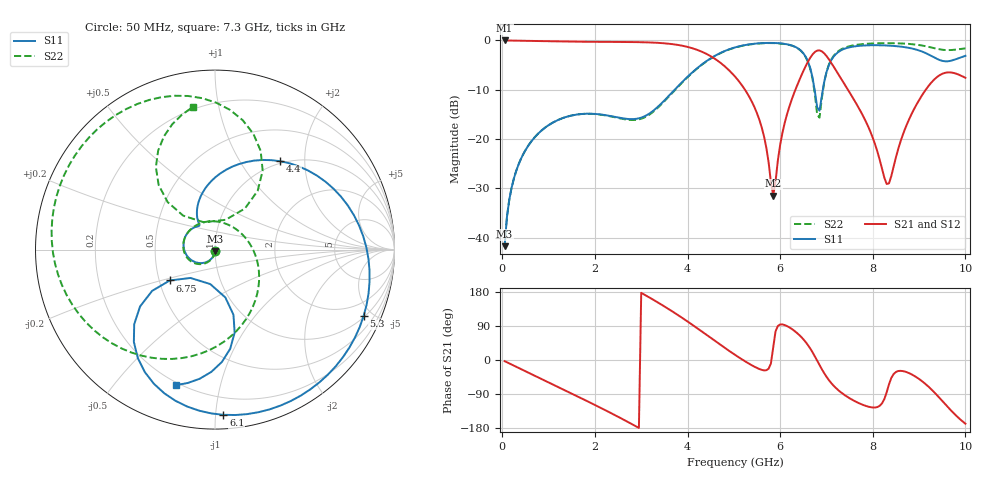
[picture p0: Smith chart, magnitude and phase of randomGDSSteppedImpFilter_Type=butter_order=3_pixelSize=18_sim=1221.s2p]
! freq	dB(S11)	phase(S11)	dB(S12)	phase(S12)
!  dB(S21)	phase(S21)	dB(S22)	phase(S22)
!S-par simulation data
#  GHz  S  DB  R 50
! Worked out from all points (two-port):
!   200 points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, 50 MHz to 10 GHz, reference 50 ohm
!   highest |S21| = -0.01 dB at 50 MHz (marker M1); lowest = -31.5 dB at 5.85 GHz (marker M2)
!   |S21| within 3 dB of the highest: start of sweep to 4.463 GHz; 6.687 GHz to 6.987 GHz (299.4 MHz wide, 4.38 % of centre)
!   lowest |S11| = -41.7 dB at 50 MHz (marker M3), VSWR 1.02, Z = 50 - j0.818 ohm
!   |S11| at or under -10 dB: start of sweep to 3.723 GHz; 6.744 GHz to 6.923 GHz (178.4 MHz wide, 2.61 % of centre)
!   |S22| runs from -41.7 to -0.5 dB; largest |S21 - S12| = 0
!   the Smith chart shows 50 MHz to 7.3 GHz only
!   S11 on the Smith chart (normalised r, x): 50 MHz: 1.00, -0.02; 4.4 GHz: 0.97, +1.52; 5.3 GHz: 1.05, -4.43; 6.1 GHz: 0.09, -1.05; 6.75 GHz: 0.57, -0.22; 7.3 GHz: 0.19, -0.73
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0.05  -41.74 -91.3  -0.01 -3.0  -0.01 -3.0  -41.73 -91.0
0.2  -29.92 -102.1  -0.02 -11.9  -0.02 -11.9  -29.91 -101.0
0.5  -22.27 -121.5  -0.07 -29.7  -0.07 -29.7  -22.26 -118.7
1.75  -14.90 163.8  -0.27 -103.6  -0.27 -103.6  -14.91 167.4
2.65  -15.87 125.9  -0.31 -159.4  -0.31 -159.4  -16.01 93.6
3.4  -13.11 117.1  -0.51 148.9  -0.51 148.9  -13.28 -2.6
4.4  -4.26 53.5  -2.69 67.3  -2.69 67.3  -4.31 -102.5
5.05  -1.35 -3.4  -7.60 11.6  -7.60 11.6  -1.39 -158.8
5.3  -0.85 -24.2  -10.90 -7.7  -10.90 -7.7  -0.89 -179.0
5.85  -0.51 -67.3  -31.49 32.8  -31.49 32.8  -0.54 138.3
6.1  -0.71 -87.1  -16.67 92.1  -16.67 92.1  -0.73 118.1
6.45  -2.09 -119.8  -7.27 61.4  -7.27 61.4  -2.12 83.9
6.7  -7.55 -146.7  -2.83 20.2  -2.83 20.2  -7.86 54.0
6.75  -10.32 -145.7  -2.33 9.5  -2.33 9.5  -10.96 53.9
6.85  -14.25 -97.7  -2.02 -13.2  -2.02 -13.2  -15.67 112.4
7  -6.45 -76.7  -3.15 -44.1  -3.15 -44.1  -6.42 131.1
7.3  -2.09 -106.2  -7.51 -84.1  -7.51 -84.1  -1.90 98.9
8.35  -1.05 175.7  -29.00 -64.3  -29.00 -64.3  -0.55 29.4
9.05  -2.20 99.0  -11.33 -54.6  -11.33 -54.6  -1.01 -6.0
9.45  -4.00 10.9  -7.02 -101.2  -7.02 -101.2  -1.81 -20.9
9.75  -3.95 -70.6  -6.61 -140.8  -6.61 -140.8  -1.91 -27.8
10  -3.12 -121.1  -7.59 -168.1  -7.59 -168.1  -1.60 -35.1
